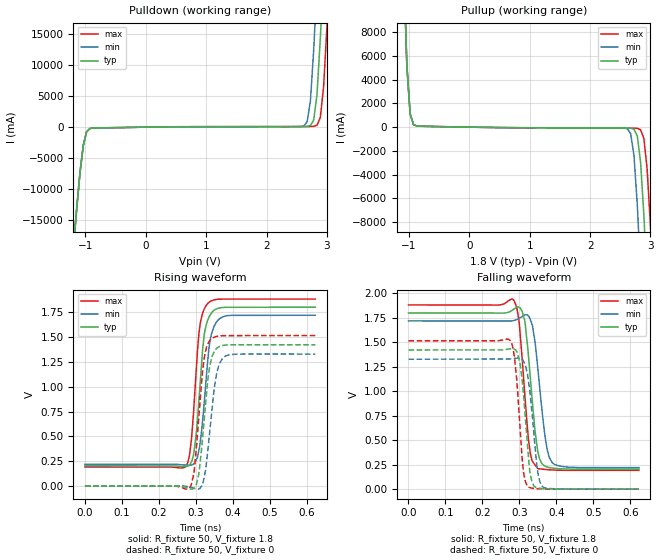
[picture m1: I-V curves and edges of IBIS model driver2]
| IBIS file inv_chain_fast_5ps_tr50ps.ibs created by PYS2IBIS3
| Missouri S&T EMC Lab
[IBIS Ver] 7.1
[File Name] inv_chain_fast_5ps_tr50ps.ibs
[File Rev] 1.0
[Date] Jul 27, 2026
[Source] Eight-stage inv_chain transistor model characterized with s2ibispy
[Notes] Parameter selection; sim_time=6.231e-10, tr=tf=5.000e-11.
[Component] invchain
[Manufacturer] s2ibispy study
[Package]
| variable   typ   min   max
R_pkg 0 NA NA
L_pkg 0H NA NA
C_pkg 0F NA NA
[Pin]  signal_name   model_name   R_pin   L_pin   C_pin
VSSQ   VSSQ   Gnd
VCCQ   VCCQ   Power
| IN IN dummy
PAD   PAD   driver2
| End of Component
| Models and submodels in the file (1): driver2 (Output)
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[Model] driver2
Model_type Output
Polarity Non-Inverting
Enable Active-High
Vinl  = 0.8V
Vinh  = 2V
C_comp 0.4680pF NA NA
[Temperature Range] 27.0000 27.0000 27.0000
[Voltage Range] 1.8000V 1.7000V 1.9000V
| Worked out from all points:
|   slope of the pulldown table from 0 to 0.27 V, typ, clamps not added: 6.79 ohm
|   slope of the pullup table from 0 to 0.27 V, typ, clamps not added: 12.6 ohm
|   rising waveform, R_fixture 50, V_fixture 1.8: 20-80 % time 20.4ps typ, 22ps min, 19.1ps max; typ from 0.204 V to 1.8 V
|   rising waveform, R_fixture 50, V_fixture 0: 20-80 % time 21.6ps typ, 23.3ps min, 20.4ps max; typ from 0 V to 1.42 V
|   falling waveform, R_fixture 50, V_fixture 1.8: 20-80 % time 22.9ps typ, 25.5ps min, 20.7ps max; typ from 1.8 V to 0.204 V
|   falling waveform, R_fixture 50, V_fixture 0: 20-80 % time 18.3ps typ, 20ps min, 17.1ps max; typ from 1.42 V to 0 V
[Pulldown]
| Voltage   I(typ)   I(min)   I(max)
-1.8V     -87.88A    -87.88A    -87.88A
-1.2V     -19.4A     -19.4A     -19.4A
-1.036V   -2.952A    -2.948A    -2.955A
-927.3mV  -221.8mA   -216.4mA   -227mA
2.618V    95.77mA    193.1mA    97.15mA
2.727V    244.8mA    4.224A     106.4mA
2.782V    1.151A     12.49A     132.5mA
2.836V    5.27A      23.04A     313.7mA
2.891V    14.25A     33.59A     1.533A
2.946V    24.81A     44.15A     6.464A
3V        35.36A     54.71A     16.02A
3.6V      151.5A     170.8A     132.1A
[Pullup]
| Voltage   I(typ)   I(min)   I(max)
-1.8V     151.4A     151.4A     151.4A
-1.091V   14.2A      14.19A     14.2A
-981.8mV  1.13A      1.129A     1.132A
-872.7mV  99.18mA    97.54mA    100.6mA
2.618V    -78.19mA   -142.5mA   -79.21mA
2.727V    -177.2mA   -2.408A    -86.52mA
2.782V    -728.3mA   -6.523A    -104.6mA
2.836V    -2.952A    -12.18A    -222.3mA
2.891V    -7.391A    -18.4A     -950.7mA
2.946V    -13.22A    -24.62A    -3.561A
3V        -19.44A    -30.85A    -8.297A
3.6V      -87.92A    -99.33A    -76.52A
[Ramp]
| variable   typ   min   max
dV/dt_r 0.8532/0.02162n 0.7968/0.02332n 0.9090/0.02045n
dV/dt_f 0.9575/0.02291n 0.8972/0.02484n 1.0171/0.02128n
R_load = 50
[Rising Waveform]
R_fixture = 50
V_fixture = 1.8
|time   V(typ)   V(min)   V(max)
0s        204.2mV    219.5mV    192.2mV
272.6ps   195.8mV    210.8mV    197.4mV
287.5ps   240.1mV    212.3mV    448.2mV
299.4ps   468.3mV    253.2mV    1.07V
309.4ps   923.7mV    375.7mV    1.571V
322.5ps   1.521V     832.3mV    1.781V
333.7ps   1.685V     1.324V     1.844V
348.7ps   1.767V     1.603V     1.873V
373ps     1.797V     1.703V     1.882V
623.1ps   1.8V       1.719V     1.882V
[Rising Waveform]
R_fixture = 50
V_fixture = 0
|time   V(typ)   V(min)   V(max)
0s        13.08nV    12.76nV    13.48nV
281.3ps   -24.85mV   -6.683mV   -22.74mV
295ps     -19.67mV   -22.66mV   135.5mV
307.5ps   108.4mV    -28.43mV   678.8mV
318.7ps   515.4mV    22.84mV    1.182V
326.2ps   838.5mV    160.1mV    1.357V
336.2ps   1.175V     499.2mV    1.459V
356.2ps   1.387V     1.133V     1.506V
376.7ps   1.417V     1.301V     1.514V
623.1ps   1.422V     1.328V     1.515V
[Falling Waveform]
R_fixture = 50
V_fixture = 1.8
|time   V(typ)   V(min)   V(max)
0s        1.8V       1.719V     1.882V
285.7ps   1.841V     1.723V     1.926V
299.4ps   1.857V     1.745V     1.703V
314.4ps   1.722V     1.779V     975mV
321.2ps   1.495V     1.78V      641.8mV
335ps     891.6mV    1.676V     284.7mV
349.3ps   391.6mV    1.25V      210.8mV
368.6ps   236.8mV    555.1mV    202mV
388.6ps   215.6mV    271.3mV    196.3mV
623.1ps   204.2mV    219.5mV    192.2mV
[Falling Waveform]
R_fixture = 50
V_fixture = 0
|time   V(typ)   V(min)   V(max)
0s        1.422V     1.328V     1.515V
275.7ps   1.435V     1.331V     1.515V
286.3ps   1.429V     1.336V     1.358V
301.9ps   1.281V     1.338V     615.9mV
310.6ps   984mV      1.31V      185.7mV
324.3ps   318.9mV    1.112V     21.61mV
334.3ps   68.94mV    774.8mV    9.953mV
347.4ps   14mV       227.5mV    5.319mV
363ps     5.873mV    24.43mV    2.41mV
623.1ps   1.462nV    -664.4nV   120.8nV
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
